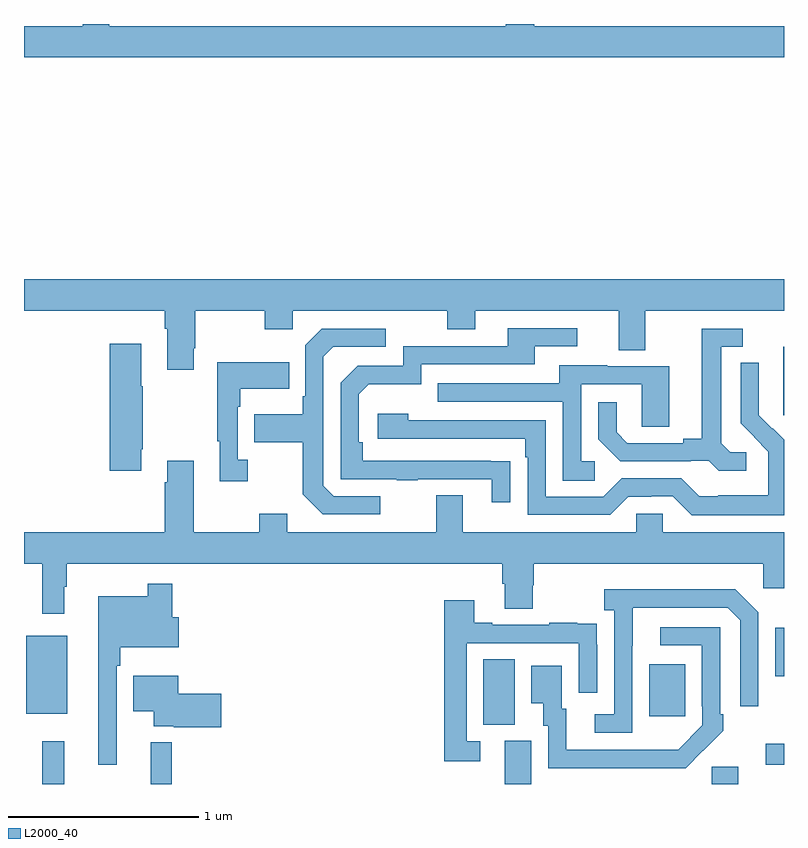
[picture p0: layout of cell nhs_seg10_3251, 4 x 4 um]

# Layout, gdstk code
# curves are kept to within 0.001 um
import gdstk
lib = gdstk.Library(unit=1e-6, precision=1e-09)
def R(c, l, rs):  # rectangles x0, y0, x1, y1
    for r in rs: c.add(gdstk.rectangle(r[:2], r[2:], *l))
def P(c, l, *ps):  # polygons
    for p in ps: c.add(gdstk.Polygon(p, *l))
L2000_40 = (2000, 40)

nhs_seg10_3251 = lib.new_cell('nhs_seg10_3251')
R(nhs_seg10_3251, L2000_40, [(287.095,1288.5,287.213,1288.726), (287.666,1288.5,287.778,1288.72), (289.529,1288.5,289.669,1288.728), (290.619,1288.5,290.758,1288.59), (290.904,1288.602,291,1288.711), (289.418,1288.813,289.582,1289.156), (290.291,1288.857,290.479,1289.131), (287.012,1288.871,287.227,1289.281), (290.954,1289.066,291,1289.323), (290.996,1290.441,291,1290.802)])
P(nhs_seg10_3251, L2000_40, [(291,1292.488),(289.686,1292.488),(289.686,1292.5),(289.535,1292.5),(289.535,1292.488),(287.448,1292.488),(287.448,1292.5),(287.309,1292.5),(287.309,1292.488),(287,1292.488),(287,1292.324),(291,1292.324)],
  [(287.893,1290.793),(287.901,1290.793),(287.901,1290.992),(288.268,1290.992),(288.268,1290.893),(288.414,1290.893),(288.414,1290.992),(289.228,1290.992),(289.228,1290.893),(289.375,1290.893),(289.375,1290.992),(290.129,1290.992),(290.129,1290.784),(290.269,1290.784),(290.269,1290.992),(291,1290.992),(291,1291.156),(287,1291.156),(287,1290.992),(287.741,1290.992),(287.741,1290.896),(287.753,1290.896),(287.753,1290.681),(287.893,1290.681)],
  [(289.559,1290.2),(288.782,1290.201),(288.782,1290.298),(288.762,1290.298),(288.762,1290.552),(288.815,1290.605),(289.092,1290.605),(289.092,1290.708),(289.687,1290.708),(289.687,1290.804),(289.912,1290.804),(289.912,1290.9),(289.547,1290.9),(289.547,1290.804),(288.996,1290.804),(288.996,1290.702),(288.756,1290.702),(288.666,1290.612),(288.666,1290.105),(288.961,1290.105),(288.961,1290.1),(289.073,1290.1),(289.073,1290.105),(289.463,1290.105),(289.463,1289.982),(289.559,1289.982)],
  [(290.8,1290.246),(290.718,1290.246),(290.671,1290.293),(290.671,1290.801),(290.782,1290.801),(290.782,1290.897),(290.567,1290.897),(290.567,1290.317),(290.471,1290.317),(290.471,1290.294),(290.176,1290.294),(290.119,1290.351),(290.119,1290.508),(290.022,1290.508),(290.022,1290.314),(290.138,1290.198),(290.51,1290.198),(290.51,1290.201),(290.604,1290.201),(290.656,1290.149),(290.8,1290.149)],
  [(288.874,1290.015),(288.63,1290.015),(288.576,1290.069),(288.576,1290.75),(288.627,1290.801),(288.904,1290.801),(288.904,1290.897),(288.567,1290.897),(288.48,1290.81),(288.48,1290.541),(288.468,1290.541),(288.468,1290.445),(288.211,1290.445),(288.211,1290.298),(288.468,1290.298),(288.468,1290.025),(288.573,1289.919),(288.874,1289.919)],
  [(287.617,1290.262),(287.625,1290.262),(287.625,1290.593),(287.617,1290.593),(287.617,1290.817),(287.45,1290.817),(287.45,1290.15),(287.617,1290.15)],
  [(288.178,1290.206),(288.126,1290.206),(288.126,1290.485),(288.139,1290.485),(288.139,1290.581),(288.395,1290.581),(288.395,1290.721),(288.018,1290.721),(288.018,1290.305),(288.029,1290.305),(288.029,1290.093),(288.178,1290.093)],
  [(291,1290.312),(290.94,1290.372),(290.937,1290.369),(290.867,1290.44),(290.868,1290.716),(290.772,1290.716),(290.772,1290.398),(290.918,1290.25),(290.918,1290.153),(290.916,1290.153),(290.916,1290.019),(290.653,1290.019),(290.653,1290.015),(290.553,1290.015),(290.46,1290.108),(290.145,1290.108),(290.049,1290.012),(289.746,1290.012),(289.746,1290.414),(289.022,1290.414),(289.022,1290.448),(288.861,1290.448),(288.861,1290.318),(289.637,1290.318),(289.637,1290.221),(289.65,1290.221),(289.65,1289.916),(290.085,1289.916),(290.181,1290.012),(290.3,1290.012),(290.3,1290.015),(290.415,1290.015),(290.515,1289.915),(291,1289.915)],
  [(290.005,1290.198),(289.932,1290.198),(289.932,1290.603),(290.25,1290.603),(290.25,1290.379),(290.395,1290.379),(290.395,1290.699),(290.071,1290.699),(290.071,1290.703),(289.817,1290.703),(289.817,1290.609),(289.177,1290.609),(289.177,1290.513),(289.836,1290.513),(289.836,1290.097),(290.005,1290.097)],
  [(287.212,1289.537),(287.224,1289.537),(287.224,1289.66),(289.517,1289.66),(289.517,1289.554),(289.529,1289.554),(289.529,1289.422),(289.677,1289.422),(289.677,1289.547),(289.682,1289.547),(289.682,1289.66),(290.892,1289.66),(290.892,1289.529),(291,1289.529),(291,1289.824),(290.361,1289.824),(290.361,1289.922),(290.223,1289.922),(290.223,1289.824),(289.309,1289.824),(289.309,1290.019),(289.169,1290.019),(289.169,1289.824),(288.385,1289.824),(288.385,1289.923),(288.238,1289.923),(288.238,1289.824),(287.893,1289.824),(287.893,1290.202),(287.753,1290.202),(287.753,1290.089),(287.741,1290.089),(287.741,1289.824),(287,1289.824),(287,1289.66),(287.095,1289.66),(287.095,1289.397),(287.212,1289.397)],
  [(287.487,1289.123),(287.507,1289.123),(287.507,1289.219),(287.815,1289.219),(287.815,1289.377),(287.78,1289.377),(287.78,1289.554),(287.652,1289.554),(287.652,1289.488),(287.39,1289.488),(287.39,1288.602),(287.487,1288.602)],
  [(290.202,1289.227),(290.203,1289.427),(290.703,1289.427),(290.769,1289.361),(290.769,1288.908),(290.865,1288.908),(290.865,1289.403),(290.744,1289.524),(290.055,1289.524),(290.055,1289.414),(290.106,1289.414),(290.106,1288.866),(290.004,1288.866),(290.004,1288.77),(290.202,1288.77)],
  [(289.402,1288.725),(289.329,1288.725),(289.329,1289.241),(289.92,1289.241),(289.92,1288.98),(290.016,1288.98),(290.016,1289.234),(290.015,1289.234),(290.015,1289.343),(289.913,1289.343),(289.913,1289.35),(289.765,1289.35),(289.765,1289.337),(289.465,1289.337),(289.465,1289.35),(289.369,1289.35),(289.369,1289.467),(289.213,1289.467),(289.213,1288.62),(289.402,1288.62)],
  [(290.573,1288.675),(290.574,1288.674),(290.679,1288.779),(290.679,1288.867),(290.664,1288.867),(290.664,1289.325),(290.349,1289.325),(290.349,1289.229),(290.568,1289.229),(290.568,1288.909),(290.571,1288.909),(290.571,1288.809),(290.443,1288.681),(289.855,1288.68),(289.855,1288.896),(289.831,1288.896),(289.831,1289.122),(289.67,1289.122),(289.67,1288.925),(289.733,1288.925),(289.733,1288.806),(289.758,1288.806),(289.758,1288.584),(290.482,1288.584)],
  [(288.037,1288.976),(287.812,1288.976),(287.812,1289.071),(287.576,1289.071),(287.576,1288.883),(287.684,1288.883),(287.684,1288.805),(287.788,1288.805),(287.788,1288.8),(288.037,1288.8)])

lib.write_gds('nhs_seg10_3251.gds')
